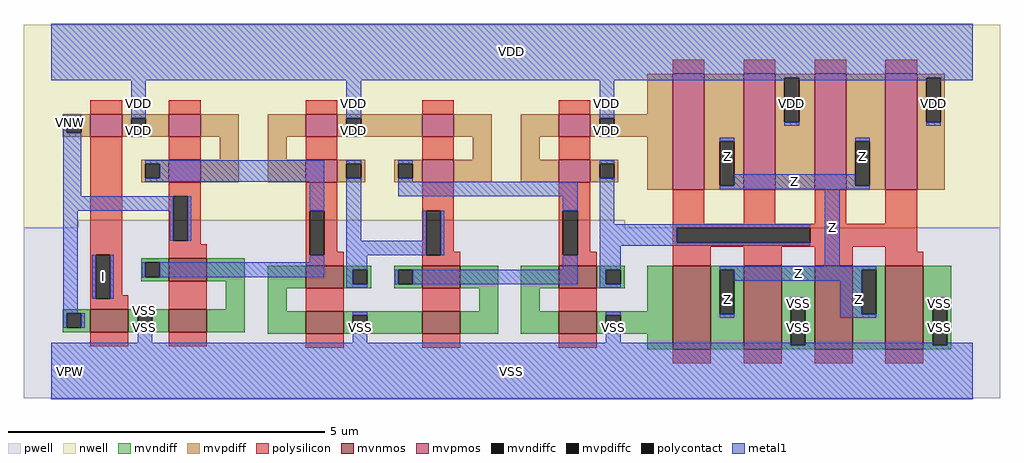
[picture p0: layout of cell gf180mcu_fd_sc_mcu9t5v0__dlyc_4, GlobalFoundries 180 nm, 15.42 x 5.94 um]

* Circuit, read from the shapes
.subckt gf180mcu_fd_sc_mcu9t5v0__dlyc_4 I Z VDD VNW VPW VSS
XM1 VSS I n1 VPW nfet_06v0 w=0.36u l=0.6u
XM2 n2 n1 VSS VPW nfet_06v0 w=0.36u l=0.6u
XM3 n2 n1 n3 VPW nfet_06v0 w=0.36u l=0.6u
XM4 VSS n3 n4 VPW nfet_06v0 w=0.36u l=0.6u
XM5 n5 n3 n4 VPW nfet_06v0 w=0.36u l=0.6u
XM6 n6 n5 VSS VPW nfet_06v0 w=0.36u l=0.6u
XM7 n6 n5 n7 VPW nfet_06v0 w=0.36u l=0.6u
XM8 VSS n7 n8 VPW nfet_06v0 w=0.36u l=0.6u
XM9 n9 n7 n8 VPW nfet_06v0 w=0.36u l=0.6u
XM10 Z n9 VSS VPW nfet_06v0 w=1.32u l=0.6u m=4
XM11 VDD I n1 VNW pfet_06v0 w=0.36u l=0.5u
XM12 n10 n1 n3 VNW pfet_06v0 w=0.36u l=0.5u
XM13 n10 n1 VDD VNW pfet_06v0 w=0.36u l=0.5u
XM14 n5 n3 n11 VNW pfet_06v0 w=0.36u l=0.5u
XM15 VDD n3 n11 VNW pfet_06v0 w=0.36u l=0.5u
XM16 n12 n5 n7 VNW pfet_06v0 w=0.36u l=0.5u
XM17 n12 n5 VDD VNW pfet_06v0 w=0.36u l=0.5u
XM18 n9 n7 n13 VNW pfet_06v0 w=0.36u l=0.5u
XM19 VDD n7 n13 VNW pfet_06v0 w=0.36u l=0.5u
XM20 Z n9 VDD VNW pfet_06v0 w=1.83u l=0.5u m=4
.ends

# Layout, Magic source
magic
tech gf180mcuD
magscale 1 10
<< nwell >>
rect -86 476 2998 1094
rect -86 453 86 476
rect 1813 453 2998 476
<< pwell >>
rect 86 453 1813 476
rect -86 -86 2998 453
<< mvnmos >>
rect 372 284 492 356
rect 124 123 244 195
rect 372 123 492 195
rect 804 261 924 333
rect 1172 261 1292 333
rect 804 117 924 189
rect 1172 117 1292 189
rect 1604 261 1724 333
rect 1604 117 1724 189
rect 1964 69 2084 333
rect 2188 69 2308 333
rect 2412 69 2532 333
rect 2636 69 2756 333
<< mvpmos >>
rect 124 740 224 812
rect 372 740 472 812
rect 372 596 472 668
rect 804 740 904 812
rect 1172 740 1272 812
rect 804 596 904 668
rect 1172 596 1272 668
rect 1604 740 1704 812
rect 1604 596 1704 668
rect 1964 573 2064 939
rect 2188 573 2288 939
rect 2412 573 2512 939
rect 2636 573 2736 939
<< mvndiff >>
rect 284 343 372 356
rect 284 297 297 343
rect 343 297 372 343
rect 284 284 372 297
rect 492 284 612 356
rect 552 195 612 284
rect 36 182 124 195
rect 36 136 49 182
rect 95 136 124 182
rect 36 123 124 136
rect 244 182 372 195
rect 244 136 273 182
rect 319 136 372 182
rect 244 123 372 136
rect 492 123 612 195
rect 684 261 804 333
rect 924 320 1012 333
rect 924 274 953 320
rect 999 274 1012 320
rect 924 261 1012 274
rect 1084 320 1172 333
rect 1084 274 1097 320
rect 1143 274 1172 320
rect 1084 261 1172 274
rect 1292 261 1412 333
rect 684 189 744 261
rect 1352 189 1412 261
rect 684 117 804 189
rect 924 176 1172 189
rect 924 130 953 176
rect 999 130 1172 176
rect 924 117 1172 130
rect 1292 117 1412 189
rect 1484 261 1604 333
rect 1724 320 1812 333
rect 1724 274 1753 320
rect 1799 274 1812 320
rect 1724 261 1812 274
rect 1484 189 1544 261
rect 1884 189 1964 333
rect 1484 117 1604 189
rect 1724 176 1964 189
rect 1724 130 1753 176
rect 1799 130 1964 176
rect 1724 117 1964 130
rect 1884 69 1964 117
rect 2084 320 2188 333
rect 2084 180 2113 320
rect 2159 180 2188 320
rect 2084 69 2188 180
rect 2308 222 2412 333
rect 2308 82 2337 222
rect 2383 82 2412 222
rect 2308 69 2412 82
rect 2532 320 2636 333
rect 2532 180 2561 320
rect 2607 180 2636 320
rect 2532 69 2636 180
rect 2756 222 2844 333
rect 2756 82 2785 222
rect 2831 82 2844 222
rect 2756 69 2844 82
<< mvpdiff >>
rect 1884 812 1964 939
rect 36 799 124 812
rect 36 753 49 799
rect 95 753 124 799
rect 36 740 124 753
rect 224 799 372 812
rect 224 753 253 799
rect 299 753 372 799
rect 224 740 372 753
rect 472 740 592 812
rect 532 668 592 740
rect 284 655 372 668
rect 284 609 297 655
rect 343 609 372 655
rect 284 596 372 609
rect 472 596 592 668
rect 684 740 804 812
rect 904 799 1172 812
rect 904 753 933 799
rect 979 753 1172 799
rect 904 740 1172 753
rect 1272 740 1392 812
rect 684 668 744 740
rect 1332 668 1392 740
rect 684 596 804 668
rect 904 655 992 668
rect 904 609 933 655
rect 979 609 992 655
rect 904 596 992 609
rect 1084 655 1172 668
rect 1084 609 1097 655
rect 1143 609 1172 655
rect 1084 596 1172 609
rect 1272 596 1392 668
rect 1484 740 1604 812
rect 1704 799 1964 812
rect 1704 753 1733 799
rect 1779 753 1964 799
rect 1704 740 1964 753
rect 1484 668 1544 740
rect 1484 596 1604 668
rect 1704 655 1792 668
rect 1704 609 1733 655
rect 1779 609 1792 655
rect 1704 596 1792 609
rect 1884 573 1964 740
rect 2064 726 2188 939
rect 2064 586 2113 726
rect 2159 586 2188 726
rect 2064 573 2188 586
rect 2288 926 2412 939
rect 2288 786 2317 926
rect 2363 786 2412 926
rect 2288 573 2412 786
rect 2512 726 2636 939
rect 2512 586 2541 726
rect 2587 586 2636 726
rect 2512 573 2636 586
rect 2736 926 2824 939
rect 2736 786 2765 926
rect 2811 786 2824 926
rect 2736 573 2824 786
<< mvndiffc >>
rect 297 297 343 343
rect 49 136 95 182
rect 273 136 319 182
rect 953 274 999 320
rect 1097 274 1143 320
rect 953 130 999 176
rect 1753 274 1799 320
rect 1753 130 1799 176
rect 2113 180 2159 320
rect 2337 82 2383 222
rect 2561 180 2607 320
rect 2785 82 2831 222
<< mvpdiffc >>
rect 49 753 95 799
rect 253 753 299 799
rect 297 609 343 655
rect 933 753 979 799
rect 933 609 979 655
rect 1097 609 1143 655
rect 1733 753 1779 799
rect 1733 609 1779 655
rect 2113 586 2159 726
rect 2317 786 2363 926
rect 2541 586 2587 726
rect 2765 786 2811 926
<< polysilicon >>
rect 1964 939 2064 983
rect 2188 939 2288 983
rect 2412 939 2512 983
rect 2636 939 2736 983
rect 124 812 224 856
rect 372 812 472 856
rect 804 812 904 856
rect 1172 812 1272 856
rect 1604 812 1704 856
rect 124 368 224 740
rect 372 668 472 740
rect 804 668 904 740
rect 1172 668 1272 740
rect 1604 668 1704 740
rect 124 228 141 368
rect 187 239 224 368
rect 372 552 472 596
rect 372 412 385 552
rect 431 412 472 552
rect 372 400 472 412
rect 804 506 904 596
rect 372 356 492 400
rect 804 366 817 506
rect 863 377 904 506
rect 1172 506 1272 596
rect 863 366 924 377
rect 804 333 924 366
rect 1172 366 1185 506
rect 1231 377 1272 506
rect 1604 506 1704 596
rect 1231 366 1292 377
rect 1172 333 1292 366
rect 1604 366 1617 506
rect 1663 377 1704 506
rect 1964 465 2064 573
rect 2188 465 2288 573
rect 2412 465 2512 573
rect 2636 465 2736 573
rect 1964 452 2736 465
rect 1964 406 1977 452
rect 2399 406 2736 452
rect 1964 393 2736 406
rect 1663 366 1724 377
rect 1604 333 1724 366
rect 1964 333 2084 393
rect 2188 333 2308 393
rect 2412 333 2532 393
rect 2636 377 2736 393
rect 2636 333 2756 377
rect 187 228 244 239
rect 124 195 244 228
rect 372 195 492 284
rect 804 189 924 261
rect 1172 189 1292 261
rect 124 79 244 123
rect 372 79 492 123
rect 1604 189 1724 261
rect 804 73 924 117
rect 1172 73 1292 117
rect 1604 73 1724 117
rect 1964 25 2084 69
rect 2188 25 2308 69
rect 2412 25 2532 69
rect 2636 25 2756 69
<< polycontact >>
rect 141 228 187 368
rect 385 412 431 552
rect 817 366 863 506
rect 1185 366 1231 506
rect 1617 366 1663 506
rect 1977 406 2399 452
<< metal1 >>
rect 0 926 2912 1098
rect 0 918 2317 926
rect 38 799 95 810
rect 38 753 49 799
rect 38 552 95 753
rect 253 799 299 918
rect 253 742 299 753
rect 933 799 979 918
rect 933 742 979 753
rect 1733 799 1779 918
rect 2363 918 2765 926
rect 2317 775 2363 786
rect 2811 918 2912 926
rect 2765 775 2811 786
rect 1733 742 1779 753
rect 2113 726 2159 737
rect 297 655 863 666
rect 343 609 863 655
rect 297 598 863 609
rect 38 506 385 552
rect 38 182 84 506
rect 374 412 385 506
rect 431 412 442 552
rect 817 506 863 598
rect 130 228 141 368
rect 187 228 198 368
rect 817 343 863 366
rect 286 297 297 343
rect 343 297 863 343
rect 933 655 979 666
rect 933 412 979 609
rect 1097 655 1143 666
rect 1097 598 1143 609
rect 1733 655 1779 666
rect 1097 552 1663 598
rect 1617 506 1663 552
rect 1174 412 1185 506
rect 933 366 1185 412
rect 1231 366 1242 506
rect 933 320 999 366
rect 1617 320 1663 366
rect 933 274 953 320
rect 1086 274 1097 320
rect 1143 274 1663 320
rect 1733 463 1779 609
rect 2541 726 2587 737
rect 2159 586 2541 621
rect 2113 575 2587 586
rect 1733 452 2399 463
rect 1733 406 1977 452
rect 1733 395 2399 406
rect 1733 320 1799 395
rect 2445 331 2491 575
rect 1733 274 1753 320
rect 933 263 999 274
rect 1733 263 1799 274
rect 2113 320 2607 331
rect 273 182 319 193
rect 38 136 49 182
rect 95 136 106 182
rect 273 90 319 136
rect 953 176 999 187
rect 953 90 999 130
rect 1753 176 1799 187
rect 2159 285 2561 320
rect 2113 169 2159 180
rect 2337 222 2383 233
rect 1753 90 1799 130
rect 0 82 2337 90
rect 2494 180 2561 285
rect 2494 169 2607 180
rect 2785 222 2831 233
rect 2383 82 2785 90
rect 2831 82 2912 90
rect 0 -90 2912 82
<< labels >>
flabel metal1 s 130 228 198 368 0 FreeSans 200 0 0 0 I
port 1 nsew default input
flabel metal1 s 0 918 2912 1098 0 FreeSans 200 0 0 0 VDD
port 3 nsew power bidirectional abutment
flabel metal1 s 2785 193 2831 233 0 FreeSans 200 0 0 0 VSS
port 6 nsew ground bidirectional abutment
flabel metal1 s 2541 621 2587 737 0 FreeSans 200 0 0 0 Z
port 2 nsew default output
flabel nwell s 10 734 110 834 0 FreeSans 400 0 0 0 VNW
port 4 nsew power bidirectional
flabel pwell s 10 -50 110 50 0 FreeSans 400 0 0 0 VPW
port 5 nsew ground bidirectional
rlabel metal1 s 2113 621 2159 737 1 Z
port 2 nsew default output
rlabel metal1 s 2113 575 2587 621 1 Z
port 2 nsew default output
rlabel metal1 s 2445 331 2491 575 1 Z
port 2 nsew default output
rlabel metal1 s 2113 285 2607 331 1 Z
port 2 nsew default output
rlabel metal1 s 2494 169 2607 285 1 Z
port 2 nsew default output
rlabel metal1 s 2113 169 2159 285 1 Z
port 2 nsew default output
rlabel metal1 s 2765 775 2811 918 1 VDD
port 3 nsew power bidirectional abutment
rlabel metal1 s 2317 775 2363 918 1 VDD
port 3 nsew power bidirectional abutment
rlabel metal1 s 1733 775 1779 918 1 VDD
port 3 nsew power bidirectional abutment
rlabel metal1 s 933 775 979 918 1 VDD
port 3 nsew power bidirectional abutment
rlabel metal1 s 253 775 299 918 1 VDD
port 3 nsew power bidirectional abutment
rlabel metal1 s 1733 742 1779 775 1 VDD
port 3 nsew power bidirectional abutment
rlabel metal1 s 933 742 979 775 1 VDD
port 3 nsew power bidirectional abutment
rlabel metal1 s 253 742 299 775 1 VDD
port 3 nsew power bidirectional abutment
rlabel metal1 s 2337 193 2383 233 1 VSS
port 6 nsew ground bidirectional abutment
rlabel metal1 s 2785 187 2831 193 1 VSS
port 6 nsew ground bidirectional abutment
rlabel metal1 s 2337 187 2383 193 1 VSS
port 6 nsew ground bidirectional abutment
rlabel metal1 s 273 187 319 193 1 VSS
port 6 nsew ground bidirectional abutment
rlabel metal1 s 2785 90 2831 187 1 VSS
port 6 nsew ground bidirectional abutment
rlabel metal1 s 2337 90 2383 187 1 VSS
port 6 nsew ground bidirectional abutment
rlabel metal1 s 1753 90 1799 187 1 VSS
port 6 nsew ground bidirectional abutment
rlabel metal1 s 953 90 999 187 1 VSS
port 6 nsew ground bidirectional abutment
rlabel metal1 s 273 90 319 187 1 VSS
port 6 nsew ground bidirectional abutment
rlabel metal1 s 0 -90 2912 90 1 VSS
port 6 nsew ground bidirectional abutment
<< properties >>
string FIXED_BBOX 0 0 2912 1008
string GDS_END 740584
string GDS_FILE $PDKPATH/libs.ref/gf180mcu_fd_sc_mcu9t5v0/gds/gf180mcu_fd_sc_mcu9t5v0.gds
string GDS_START 733730
string LEFclass core
string LEFsite GF018hv5v_green_sc9
string LEFsymmetry X Y
<< end >>
